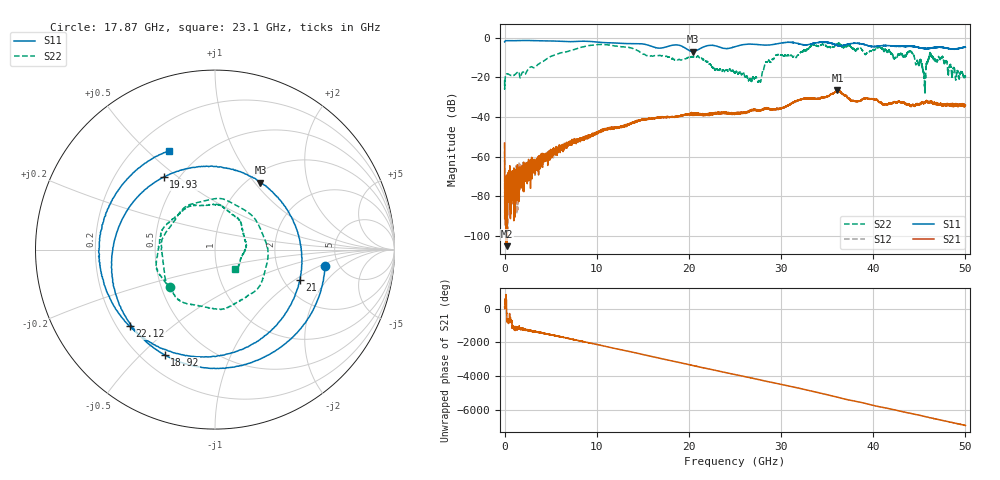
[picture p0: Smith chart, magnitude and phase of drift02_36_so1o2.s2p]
!Created with skrf (http://scikit-rf.org).
# Hz S RI R 50.0
!freq ReS11 ImS11 ReS21 ImS21 ReS12 ImS12 ReS22 ImS22
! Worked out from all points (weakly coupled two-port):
!   10001 points, 300 kHz to 50 GHz, reference 50 ohm
!   highest |S21| = -26.32 dB at 36.12 GHz (marker M1); lowest = -105.3 dB at 240.3 MHz (marker M2)
!   lowest |S11| = -6.9 dB at 20.43 GHz (marker M3), VSWR 2.64, Z = 57.2 + j53.5 ohm
!   |S11| at or under -10 dB: nowhere
!   |S22| runs from -28.7 to -2.5 dB; largest |S21 - S12| = 0.0052
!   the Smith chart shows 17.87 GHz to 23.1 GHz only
!   S11 on the Smith chart (normalised r, x): 17.87 GHz: 3.90, -1.15; 18.92 GHz: 0.29, -0.59; 19.93 GHz: 0.42, +0.45; 21 GHz: 2.44, -1.10; 22.12 GHz: 0.25, -0.36; 23.1 GHz: 0.33, +0.59
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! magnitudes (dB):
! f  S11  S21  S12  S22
! 300 kHz  -2.1  -53.2  -53.2  -21.5
! 240.3 MHz  -1.4  -105.3  -74.6  -18.2
! 8.335 GHz  -1.7  -51.4  -51.0  -4.7
! 16.67 GHz  -5.2  -40.4  -40.4  -9.0
! 17.87 GHz  -4.2  -40.0  -40.1  -9.7
! 18.92 GHz  -3.7  -39.7  -39.5  -10.9
! 19.93 GHz  -6.1  -38.7  -38.5  -9.9
! 20.43 GHz  -6.9  -38.9  -38.4  -9.7
! 21 GHz  -6.0  -39.0  -38.5  -9.4
! 22.12 GHz  -3.9  -38.5  -38.3  -12.7
! 23.1 GHz  -4.3  -38.2  -37.8  -16.2
! 25 GHz  -4.5  -38.2  -38.0  -17.6
! 27.62 GHz  -3.5  -36.8  -36.7  -21.6
! 28.43 GHz  -3.7  -35.6  -35.7  -12.2
! 29.54 GHz  -3.0  -36.0  -36.0  -8.8
! 33.34 GHz  -3.0  -30.6  -30.5  -3.8
! 36.12 GHz  -3.9  -26.3  -27.0  -3.2
! 41.67 GHz  -4.0  -33.2  -33.3  -6.1
! 44.12 GHz  -4.1  -34.6  -34.6  -7.1
! 45.5 GHz  -5.4  -32.8  -33.1  -18.0
! 46.27 GHz  -5.2  -32.4  -32.3  -9.2
! 50 GHz  -4.8  -34.1  -34.3  -19.7
